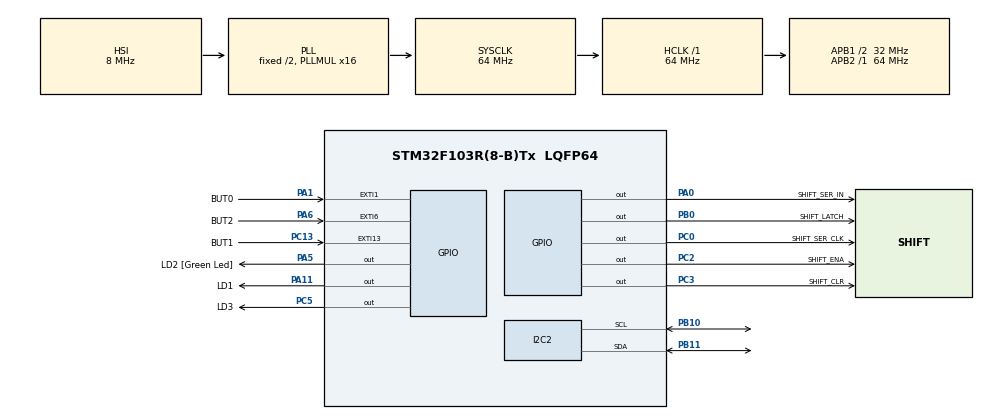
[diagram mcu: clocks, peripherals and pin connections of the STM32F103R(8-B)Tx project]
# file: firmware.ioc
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FREERTOS.Tasks01=defaultTask,24,128,StartDefaultTask,Default,NULL,Dynamic,NULL,NULL
FREERTOS.configUSE_NEWLIB_REENTRANT=1
Mcu.Family=STM32F1
Mcu.Name=STM32F103R(8-B)Tx
Mcu.Package=LQFP64
NVIC.EXTI15_10_IRQn=true\:5\:0\:false\:false\:true\:true\:true\:true\:true
NVIC.PriorityGroup=NVIC_PRIORITYGROUP_4
NVIC.TIM4_IRQn=true\:15\:0\:false\:false\:true\:false\:false\:true\:true
NVIC.TimeBase=TIM4_IRQn
NVIC.TimeBaseIP=TIM4
PA0-WKUP.GPIO_Label=SHIFT_SER_IN
PA0-WKUP.Signal=GPIO_Output
PA1.GPIO_Label=BUT0
PA1.GPIO_ModeDefaultEXTI=GPIO_MODE_IT_RISING_FALLING
PA1.GPIO_PuPd=GPIO_PULLDOWN
PA1.Signal=GPXTI1
PA11.GPIO_Label=LD1
PA11.Signal=GPIO_Output
PA13.GPIO_Label=TMS
PA13.Mode=Serial_Wire
PA13.Signal=SYS_JTMS-SWDIO
PA14.GPIO_Label=TCK
PA14.Mode=Serial_Wire
PA14.Signal=SYS_JTCK-SWCLK
PA2.GPIO_Label=USART_TX
PA2.GPIO_Mode=GPIO_MODE_AF_PP
PA2.GPIO_PuPd=GPIO_NOPULL
PA2.GPIO_Speed=GPIO_SPEED_FREQ_LOW
PA2.Signal=USART2_TX
PA3.GPIO_Label=USART_RX
PA3.GPIO_Mode=GPIO_MODE_AF_PP
PA3.GPIO_PuPd=GPIO_NOPULL
PA3.GPIO_Speed=GPIO_SPEED_FREQ_LOW
PA3.Signal=USART2_RX
PA5.GPIO_Label=LD2 [Green Led]
PA5.GPIO_ModeDefaultOutputPP=GPIO_MODE_OUTPUT_PP
PA5.GPIO_PuPd=GPIO_NOPULL
PA5.GPIO_Speed=GPIO_SPEED_FREQ_LOW
PA5.Signal=GPIO_Output
PA6.GPIO_Label=BUT2
PA6.GPIO_ModeDefaultEXTI=GPIO_MODE_IT_RISING_FALLING
PA6.GPIO_PuPd=GPIO_PULLDOWN
PA6.Signal=GPXTI6
PB0.GPIO_Label=SHIFT_LATCH
PB0.Signal=GPIO_Output
PB10.Mode=I2C
PB10.Signal=I2C2_SCL
PB11.Mode=I2C
PB11.Signal=I2C2_SDA
PB3.GPIO_Label=SWO
PB3.Signal=SYS_JTDO-TRACESWO
PC0.GPIO_Label=SHIFT_SER_CLK
PC0.Signal=GPIO_Output
PC13-TAMPER-RTC.GPIO_Label=BUT1
PC13-TAMPER-RTC.GPIO_ModeDefaultEXTI=GPIO_MODE_IT_RISING_FALLING
PC13-TAMPER-RTC.GPIO_PuPd=GPIO_PULLDOWN
PC13-TAMPER-RTC.Signal=GPXTI13
PC14-OSC32_IN.Signal=RCC_OSC32_IN
PC15-OSC32_OUT.Signal=RCC_OSC32_OUT
PC2.GPIO_Label=SHIFT_ENA
PC2.Signal=GPIO_Output
PC3.GPIO_Label=SHIFT_CLR
PC3.Signal=GPIO_Output
PC5.GPIO_Label=LD3
PC5.Signal=GPIO_Output
PD0-OSC_IN.Signal=RCC_OSC_IN
PD1-OSC_OUT.Signal=RCC_OSC_OUT
ProjectManager.HeapSize=0x200
ProjectManager.StackSize=0x400
ProjectManager.TargetToolchain=STM32CubeIDE
RCC.AHBFreq_Value=64000000
RCC.APB1CLKDivider=RCC_HCLK_DIV2
RCC.APB1Freq_Value=32000000
RCC.APB1TimFreq_Value=64000000
RCC.APB2Freq_Value=64000000
RCC.APB2TimFreq_Value=64000000
RCC.HCLKFreq_Value=64000000
RCC.PLLMUL=RCC_PLL_MUL16
RCC.SYSCLKFreq_VALUE=64000000
RCC.SYSCLKSource=RCC_SYSCLKSOURCE_PLLCLK
RCC.USBFreq_Value=64000000
VP_FREERTOS_VS_CMSIS_V2.Mode=CMSIS_V2
VP_SYS_VS_tim4.Mode=TIM4
board=NUCLEO-F103RB

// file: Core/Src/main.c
/* USER CODE BEGIN Header */
/**
 ******************************************************************************
 * @file           : main.c
 * @brief          : Main program body
 ******************************************************************************
 * @attention
 *
 * Copyright (c) 2022 STMicroelectronics.
 * All rights reserved.
 *
 * This software is licensed under terms that can be found in the LICENSE file
 * in the root directory of this software component.
 * If no LICENSE file comes with this software, it is provided AS-IS.
 *
 ******************************************************************************
 */
/* USER CODE END Header */
#include "main.h"
#include "cmsis_os.h"

/* USER CODE BEGIN Includes */
#include "sn54hc595.h"
#include "sm.h"
#include "states.h"
#include "rtc_dev.h"
#include "ds3231.h"
#include "buttons.h"
#include "nixie.h"
/* USER CODE END Includes */

I2C_HandleTypeDef hi2c2;

/* Definitions for defaultTask */
osThreadId_t defaultTaskHandle;
const osThreadAttr_t defaultTask_attributes = { .name = "defaultTask",
		.stack_size = 128 * 4, .priority = (osPriority_t) osPriorityNormal, };
/* USER CODE BEGIN PV */
osThreadId_t stateMachineTaskHandle;
const osThreadAttr_t stateMachineTask_attributes = { .name = "stateMachineTask",
		.stack_size = 128 * 4, .priority = (osPriority_t) osPriorityNormal, };
/* USER CODE END PV */

void SystemClock_Config(void);
static void MX_GPIO_Init(void);
static void MX_I2C2_Init(void);
void StartDefaultTask(void *argument);

int main(void) {

	/* MCU Configuration--------------------------------------------------------*/

	/* Reset of all peripherals, Initializes the Flash interface and the Systick. */
	HAL_Init();

	/* USER CODE BEGIN Init */
	statesInit();
	buttonsInit();
	SN54HC595_init();
	/* USER CODE END Init */

	/* Configure the system clock */
	SystemClock_Config();

	/* Initialize all configured peripherals */
	MX_GPIO_Init();
	MX_I2C2_Init();
	/* USER CODE BEGIN 2 */
	RTC_dev_init(1);
	/* USER CODE END 2 */

	/* Init scheduler */
	osKernelInitialize();

	/* Create the thread(s) */
	/* creation of defaultTask */
	defaultTaskHandle = osThreadNew(StartDefaultTask, NULL,
			&defaultTask_attributes);

	/* USER CODE BEGIN RTOS_THREADS */
	stateMachineTaskHandle = osThreadNew(smHandlerTask, NULL,
			&stateMachineTask_attributes);
	/* USER CODE END RTOS_THREADS */

	/* Start scheduler */
	osKernelStart();

	/* We should never get here as control is now taken by the scheduler */
	/* Infinite loop */
	while (1) {

	}
}

void SystemClock_Config(void) {
	RCC_OscInitTypeDef RCC_OscInitStruct = { 0 };
	RCC_ClkInitTypeDef RCC_ClkInitStruct = { 0 };

	/** Initializes the RCC Oscillators according to the specified parameters
	 * in the RCC_OscInitTypeDef structure.
	 */
	RCC_OscInitStruct.OscillatorType = RCC_OSCILLATORTYPE_HSI;
	RCC_OscInitStruct.HSIState = RCC_HSI_ON;
	RCC_OscInitStruct.HSICalibrationValue = RCC_HSICALIBRATION_DEFAULT;
	RCC_OscInitStruct.PLL.PLLState = RCC_PLL_ON;
	RCC_OscInitStruct.PLL.PLLSource = RCC_PLLSOURCE_HSI_DIV2;
	RCC_OscInitStruct.PLL.PLLMUL = RCC_PLL_MUL16;
	if (HAL_RCC_OscConfig(&RCC_OscInitStruct) != HAL_OK) {
		Error_Handler();
	}

	/** Initializes the CPU, AHB and APB buses clocks
	 */
	RCC_ClkInitStruct.ClockType = RCC_CLOCKTYPE_HCLK | RCC_CLOCKTYPE_SYSCLK
			| RCC_CLOCKTYPE_PCLK1 | RCC_CLOCKTYPE_PCLK2;
	RCC_ClkInitStruct.SYSCLKSource = RCC_SYSCLKSOURCE_PLLCLK;
	RCC_ClkInitStruct.AHBCLKDivider = RCC_SYSCLK_DIV1;
	RCC_ClkInitStruct.APB1CLKDivider = RCC_HCLK_DIV2;
	RCC_ClkInitStruct.APB2CLKDivider = RCC_HCLK_DIV1;

	if (HAL_RCC_ClockConfig(&RCC_ClkInitStruct, FLASH_LATENCY_2) != HAL_OK) {
		Error_Handler();
	}
}

static void MX_I2C2_Init(void) {

	hi2c2.Instance = I2C2;
	hi2c2.Init.ClockSpeed = 100000;
	hi2c2.Init.DutyCycle = I2C_DUTYCYCLE_2;
	hi2c2.Init.OwnAddress1 = 0;
	hi2c2.Init.AddressingMode = I2C_ADDRESSINGMODE_7BIT;
	hi2c2.Init.DualAddressMode = I2C_DUALADDRESS_DISABLE;
	hi2c2.Init.OwnAddress2 = 0;
	hi2c2.Init.GeneralCallMode = I2C_GENERALCALL_DISABLE;
	hi2c2.Init.NoStretchMode = I2C_NOSTRETCH_DISABLE;
	if (HAL_I2C_Init(&hi2c2) != HAL_OK) {
		Error_Handler();
	}

}

static void MX_GPIO_Init(void) {
	GPIO_InitTypeDef GPIO_InitStruct = { 0 };

	/* GPIO Ports Clock Enable */
	__HAL_RCC_GPIOC_CLK_ENABLE();
	__HAL_RCC_GPIOD_CLK_ENABLE();
	__HAL_RCC_GPIOA_CLK_ENABLE();
	__HAL_RCC_GPIOB_CLK_ENABLE();

	/*Configure GPIO pin Output Level */
	HAL_GPIO_WritePin(GPIOC,
	SHIFT_SER_CLK_Pin | SHIFT_ENA_Pin | SHIFT_CLR_Pin | LD3_Pin,
			GPIO_PIN_RESET);

	/*Configure GPIO pin Output Level */
	HAL_GPIO_WritePin(GPIOA, SHIFT_SER_IN_Pin | LD2_Pin | LD1_Pin,
			GPIO_PIN_RESET);

	/*Configure GPIO pin Output Level */
	HAL_GPIO_WritePin(SHIFT_LATCH_GPIO_Port, SHIFT_LATCH_Pin, GPIO_PIN_RESET);

	/*Configure GPIO pin : BUT1_Pin */
	GPIO_InitStruct.Pin = BUT1_Pin;
	GPIO_InitStruct.Mode = GPIO_MODE_IT_RISING_FALLING;
	GPIO_InitStruct.Pull = GPIO_PULLDOWN;
	HAL_GPIO_Init(BUT1_GPIO_Port, &GPIO_InitStruct);

	/*Configure GPIO pins : SHIFT_SER_CLK_Pin SHIFT_ENA_Pin SHIFT_CLR_Pin LD3_Pin */
	GPIO_InitStruct.Pin = SHIFT_SER_CLK_Pin | SHIFT_ENA_Pin | SHIFT_CLR_Pin
			| LD3_Pin;
	GPIO_InitStruct.Mode = GPIO_MODE_OUTPUT_PP;
	GPIO_InitStruct.Pull = GPIO_NOPULL;
	GPIO_InitStruct.Speed = GPIO_SPEED_FREQ_LOW;
	HAL_GPIO_Init(GPIOC, &GPIO_InitStruct);

	/*Configure GPIO pins : SHIFT_SER_IN_Pin LD2_Pin LD1_Pin */
	GPIO_InitStruct.Pin = SHIFT_SER_IN_Pin | LD2_Pin | LD1_Pin;
	GPIO_InitStruct.Mode = GPIO_MODE_OUTPUT_PP;
	GPIO_InitStruct.Pull = GPIO_NOPULL;
	GPIO_InitStruct.Speed = GPIO_SPEED_FREQ_LOW;
	HAL_GPIO_Init(GPIOA, &GPIO_InitStruct);

	/*Configure GPIO pins : BUT0_Pin BUT2_Pin */
	GPIO_InitStruct.Pin = BUT0_Pin | BUT2_Pin;
	GPIO_InitStruct.Mode = GPIO_MODE_IT_RISING_FALLING;
	GPIO_InitStruct.Pull = GPIO_PULLDOWN;
	HAL_GPIO_Init(GPIOA, &GPIO_InitStruct);

	/*Configure GPIO pins : USART_TX_Pin USART_RX_Pin */
	GPIO_InitStruct.Pin = USART_TX_Pin | USART_RX_Pin;
	GPIO_InitStruct.Mode = GPIO_MODE_AF_PP;
	GPIO_InitStruct.Speed = GPIO_SPEED_FREQ_LOW;
	HAL_GPIO_Init(GPIOA, &GPIO_InitStruct);

	/*Configure GPIO pin : SHIFT_LATCH_Pin */
	GPIO_InitStruct.Pin = SHIFT_LATCH_Pin;
	GPIO_InitStruct.Mode = GPIO_MODE_OUTPUT_PP;
	GPIO_InitStruct.Pull = GPIO_NOPULL;
	GPIO_InitStruct.Speed = GPIO_SPEED_FREQ_LOW;
	HAL_GPIO_Init(SHIFT_LATCH_GPIO_Port, &GPIO_InitStruct);

	/* EXTI interrupt init*/
	HAL_NVIC_SetPriority(EXTI15_10_IRQn, 5, 0);
	HAL_NVIC_EnableIRQ(EXTI15_10_IRQn);

}

void StartDefaultTask(void *argument) {
	for (;;) {
		osDelay(1);
	}
}

void HAL_TIM_PeriodElapsedCallback(TIM_HandleTypeDef *htim) {
	if (htim->Instance == TIM4) {
		HAL_IncTick();
	}
}

void Error_Handler(void) {
	__disable_irq();
	while (1) {
	}
}
